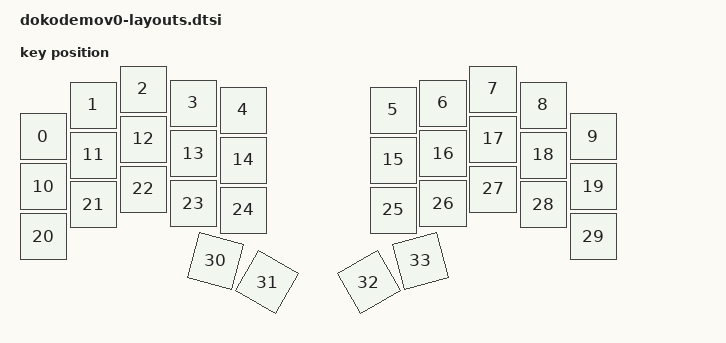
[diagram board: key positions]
#include <physical_layouts.dtsi>

/ {
    physical_layout_dokodemov0: physical_layout_dokodemov0 {
        compatible = "zmk,physical-layout";
        display-name = "DokoDemoV0";
        keys  //                     w   h    x    y     rot    rx    ry
            = <&key_physical_attrs 100 100    0   95       0     0    95>
            , <&key_physical_attrs 100 100  100   32       0   100    32>
            , <&key_physical_attrs 100 100  200    0       0   200     0>
            , <&key_physical_attrs 100 100  300   28       0   300    28>
            , <&key_physical_attrs 100 100  400   42       0   400    42>
            , <&key_physical_attrs 100 100  700   42       0   700    42>
            , <&key_physical_attrs 100 100  800   28       0   800    28>
            , <&key_physical_attrs 100 100  900    0       0   900     0>
            , <&key_physical_attrs 100 100 1000   32       0  1000    32>
            , <&key_physical_attrs 100 100 1100   95       0  1100    95>
            , <&key_physical_attrs 100 100    0  195       0     0   195>
            , <&key_physical_attrs 100 100  100  132       0   100   132>
            , <&key_physical_attrs 100 100  200  100       0   200   100>
            , <&key_physical_attrs 100 100  300  129       0   300   129>
            , <&key_physical_attrs 100 100  400  142       0   400   142>
            , <&key_physical_attrs 100 100  700  142       0   700   142>
            , <&key_physical_attrs 100 100  800  129       0   800   129>
            , <&key_physical_attrs 100 100  900  100       0   900   100>
            , <&key_physical_attrs 100 100 1000  132       0  1000   132>
            , <&key_physical_attrs 100 100 1100  195       0  1100   195>
            , <&key_physical_attrs 100 100    0  295       0     0   295>
            , <&key_physical_attrs 100 100  100  231       0   100   231>
            , <&key_physical_attrs 100 100  200  200       0   200   200>
            , <&key_physical_attrs 100 100  300  229       0   300   229>
            , <&key_physical_attrs 100 100  400  242       0   400   242>
            , <&key_physical_attrs 100 100  700  242       0   700   242>
            , <&key_physical_attrs 100 100  800  229       0   800   229>
            , <&key_physical_attrs 100 100  900  200       0   900   200>
            , <&key_physical_attrs 100 100 1000  231       0  1000   231>
            , <&key_physical_attrs 100 100 1100  295       0  1100   295>
            , <&key_physical_attrs 100 100  330  355    1500   430   455>
            , <&key_physical_attrs 100 100  430  355    3000   430   455>
            , <&key_physical_attrs 100 100  670  355 (-3000)   770   455>
            , <&key_physical_attrs 100 100  770  355 (-1500)   770   455>
            ;
    };
};
